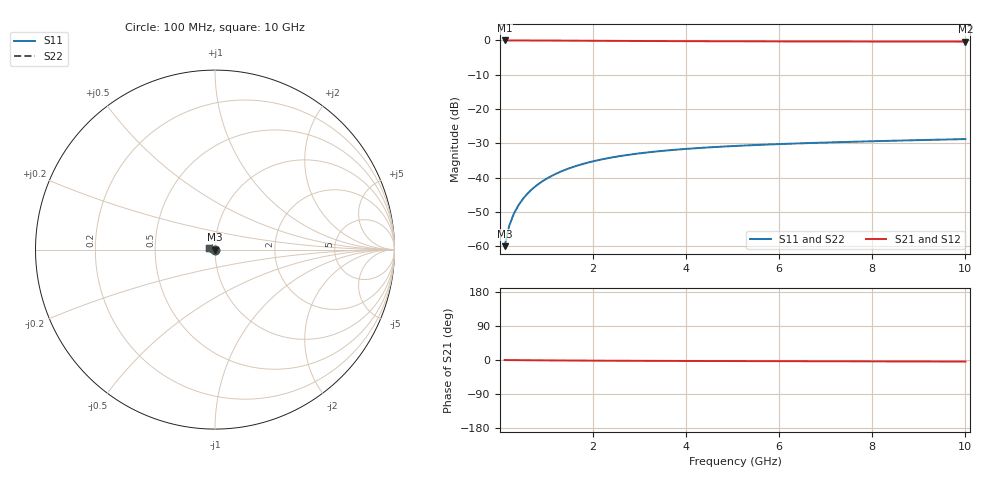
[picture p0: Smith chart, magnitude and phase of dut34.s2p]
! Touchstone file exported from HFSS 2024.1.0
!  File:  C:/UserFiles/LocalFiles/RDL_TSV_Batchsim/temp_TSV1_34_1778764062.aedt
!  Generated:  09:12:47 PM May 14, 2026
!  Design:  TSV1
!  Project:  temp_TSV1_34_1778764062
!  Setup:  Setup1
!  Solution:  Sweep
! Variables:
!  dtsv = 11.27um
!  hbump = 3um
!  htsv = 60.82um
!  lrdl = 252.1521522um
!  p = 40
!  p1 = 57.09um
!  t = 500um
!  trdl = 3um
!  wrdl = 24.89489489um
# GHz S MA R 50.000000
! Terminal data exported
! Port[1] = TSV22_T1
! Port[2] = TSV22_T2
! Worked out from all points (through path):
!   100 points, 100 MHz to 10 GHz, reference 50 ohm
!   highest |S21| = 0.00 dB at 100 MHz (marker M1); lowest = -0.3 dB at 10 GHz (marker M2)
!   lowest |S11| = -60.0 dB at 100 MHz (marker M3), VSWR 1.00, Z = 50 - j0.0998 ohm
!   |S11| at or under -10 dB: start of sweep to end of sweep
!   |S22| runs from -60.0 to -28.8 dB; largest |S21 - S12| = 6.7e-15
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0.1  0.0009999 -86.5  0.9999 -0.1  0.9999 -0.1  0.0009999 -86.5
! Gamma 0 0 0 0
! Port Impedance 50 0 50 0
0.2  0.001993 -91.2  0.9997 -0.2  0.9997 -0.2  0.001993 -91.2
0.3  0.002987 -94.0  0.9996 -0.3  0.9996 -0.3  0.002987 -94.0
0.4  0.003975 -96.5  0.9993 -0.4  0.9993 -0.4  0.003975 -96.5
0.5  0.004955 -98.8  0.999 -0.5  0.999 -0.5  0.004955 -98.8
0.6  0.005923 -101.0  0.9986 -0.6  0.9986 -0.6  0.005923 -101.0
0.7  0.006876 -103.1  0.9981 -0.7  0.9981 -0.7  0.006876 -103.1
0.8  0.007812 -105.2  0.9976 -0.8  0.9976 -0.8  0.007812 -105.2
0.9  0.008729 -107.2  0.9971 -0.9  0.9971 -0.9  0.008729 -107.2
1.1  0.0105 -111.1  0.9959 -1.1  0.9959 -1.1  0.0105 -111.1
1.4  0.01298 -116.7  0.9938 -1.3  0.9938 -1.3  0.01298 -116.7
1.6  0.01451 -120.3  0.9924 -1.4  0.9924 -1.4  0.01451 -120.3
1.8  0.01594 -123.6  0.9909 -1.6  0.9909 -1.6  0.01594 -123.6
2.1  0.01789 -128.4  0.9886 -1.8  0.9886 -1.8  0.01789 -128.4
2.5  0.02018 -134.3  0.9856 -2.0  0.9856 -2.0  0.02018 -134.3
2.9  0.02213 -139.6  0.9828 -2.1  0.9828 -2.1  0.02213 -139.6
3.4  0.02419 -145.6  0.9797 -2.3  0.9797 -2.3  0.02419 -145.6
4.2  0.02679 -153.9  0.9755 -2.6  0.9755 -2.6  0.02679 -153.9
5.1  0.02903 -161.8  0.9718 -2.8  0.9718 -2.8  0.02903 -161.8
6.7  0.03198 -173.1  0.9673 -3.3  0.9673 -3.3  0.03198 -173.1
8.4  0.03442 177.2  0.9643 -3.7  0.9643 -3.7  0.03442 177.2
10  0.03644 169.6  0.9623 -4.2  0.9623 -4.2  0.03644 169.6
